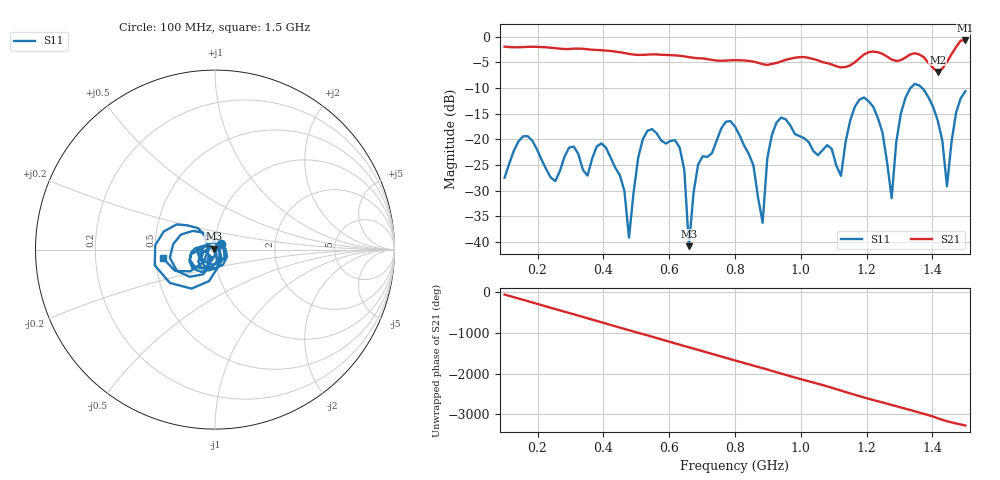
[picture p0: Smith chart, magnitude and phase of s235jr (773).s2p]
! NanoVNA-App
! Date: 2025-09-25 15:10:11
! Start: 100MHz Stop: 1,5GHz Points: 101
! S-Parameter data: F S11 S21 S12 S22
# Hz S RI R 50
!  Frequency  S11_Real  S11_Imag  S21_Real  S21_Imag  S12_Real  S12_Imag  S22_Real  S22_Imag
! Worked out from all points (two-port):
!   101 points, 100 MHz to 1.5 GHz, reference 50 ohm
!   highest |S21| = -0.75 dB at 1.5 GHz (marker M1); lowest = -6.9 dB at 1.416 GHz (marker M2)
!   |S21| within 3 dB of the highest: start of sweep to 634.3 MHz; 1.187 GHz to 1.258 GHz (71.49 MHz wide, 5.85 % of centre) (the widest 2 of 4)
!   lowest |S11| = -40.8 dB at 660 MHz (marker M3), VSWR 1.02, Z = 49.3 + j0.55 ohm
!   |S11| at or under -10 dB: start of sweep to 1.334 GHz; 1.368 GHz to end of sweep
!   S12 and S22 are empty: the file has one direction only
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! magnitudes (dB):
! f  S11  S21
! 100 MHz  -27.5  -2.0
! 156 MHz  -19.4  -2.0
! 338 MHz  -26.0  -2.4
! 408 MHz  -21.6  -2.7
! 478 MHz  -39.2  -3.4
! 520 MHz  -20.0  -3.6
! 576 MHz  -20.2  -3.5
! 632 MHz  -21.6  -3.7
! 660 MHz  -40.8  -4.0
! 688 MHz  -24.9  -4.2
! 800 MHz  -17.5  -4.6
! 884 MHz  -36.2  -5.4
! 926 MHz  -16.8  -5.1
! 1.038 GHz  -22.3  -4.4
! 1.122 GHz  -27.1  -6.0
! 1.192 GHz  -11.9  -3.5
! 1.248 GHz  -18.7  -3.4
! 1.276 GHz  -31.5  -4.5
! 1.332 GHz  -10.1  -3.5
! 1.416 GHz  -16.3  -6.9
! 1.444 GHz  -29.2  -5.0
! 1.5 GHz  -10.7  -0.8
